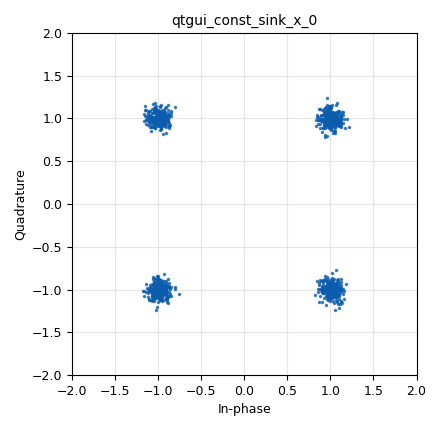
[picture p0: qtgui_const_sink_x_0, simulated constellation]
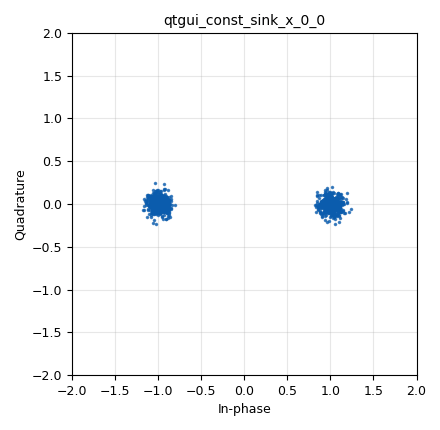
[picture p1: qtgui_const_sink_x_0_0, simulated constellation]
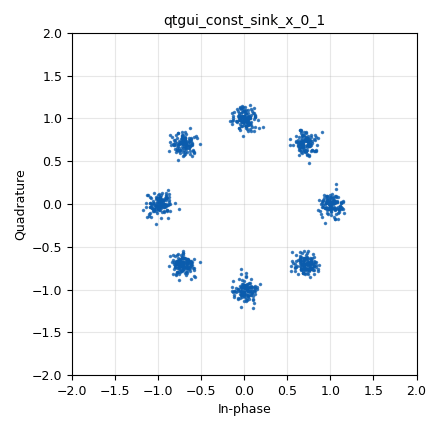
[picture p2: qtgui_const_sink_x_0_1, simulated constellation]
options:
  parameters:
    author: mike
    generate_options: qt_gui
    id: lab4
    output_language: python
    title: LAB_4
  states: {}

blocks:
- name: BPSK
  id: variable
  parameters:
    value: '[1, -1]'
  states: {}
- name: QPSK
  id: variable
  parameters:
    value: '[1+1j, -1+1j,  1-1j, -1-1j]'
  states: {}
- name: const_0
  id: variable_constellation
  parameters:
    precision: '8'
    type: bpsk
  states: {}
- name: const_1
  id: variable_constellation
  parameters:
    precision: '8'
    type: qpsk
  states: {}
- name: const_2
  id: variable_constellation
  parameters:
    precision: '8'
    type: 8psk
  states: {}
- name: noise_volt
  id: variable_qtgui_range
  parameters:
    comment: 0,0,1,1
    gui_hint: 0,0,1,1
    label: 'Channel: Noise Voltage'
    start: '0'
    step: '0.01'
    stop: '1'
    value: '0.01'
  states: {}
- name: ocho_PSK
  id: variable
  parameters:
    value: '[1+0j, 0.707+0.707j, 0+1j, -0.707+0.707j, -1+0j, -0.707-0.707j, 0-1j, 0.707-0.707j]'
  states: {}
- name: samp_rate
  id: variable
  parameters:
    value: '32000'
  states: {}
- name: analog_noise_source_x_0
  id: analog_noise_source_x
  parameters:
    amp: '0.1'
    noise_type: analog.GR_GAUSSIAN
    seed: '0'
    type: complex
  states: {}
- name: analog_noise_source_x_0_0
  id: analog_noise_source_x
  parameters:
    amp: '0.1'
    noise_type: analog.GR_GAUSSIAN
    seed: '0'
    type: complex
  states: {}
- name: analog_noise_source_x_0_1
  id: analog_noise_source_x
  parameters:
    amp: '0.1'
    noise_type: analog.GR_GAUSSIAN
    seed: '0'
    type: complex
  states: {}
- name: analog_random_source_x_0
  id: analog_random_source_x
  parameters:
    max: '2'
    min: '0'
    num_samps: '32000'
    repeat: 'True'
    type: byte
  states: {}
- name: analog_random_source_x_0_0
  id: analog_random_source_x
  parameters:
    max: '4'
    min: '0'
    num_samps: '32000'
    repeat: 'True'
    type: byte
  states: {}
- name: analog_random_source_x_0_1
  id: analog_random_source_x
  parameters:
    max: '8'
    min: '0'
    num_samps: '32000'
    repeat: 'True'
    type: byte
  states: {}
- name: blocks_add_xx_0
  id: blocks_add_xx
  parameters:
    type: complex
  states: {}
- name: blocks_add_xx_0_0
  id: blocks_add_xx
  parameters:
    type: complex
  states: {}
- name: blocks_add_xx_0_1
  id: blocks_add_xx
  parameters:
    type: complex
  states: {}
- name: blocks_throttle2_0
  id: blocks_throttle2
  parameters:
    samples_per_second: samp_rate
    type: complex
  states: {}
- name: blocks_throttle2_0_0
  id: blocks_throttle2
  parameters:
    samples_per_second: samp_rate
    type: complex
  states: {}
- name: blocks_throttle2_0_1
  id: blocks_throttle2
  parameters:
    samples_per_second: samp_rate
    type: complex
  states: {}
- name: digital_chunks_to_symbols_xx_0
  id: digital_chunks_to_symbols_xx
  parameters:
    dimension: '1'
    in_type: byte
    out_type: complex
    symbol_table: QPSK
  states: {}
- name: digital_chunks_to_symbols_xx_0_0
  id: digital_chunks_to_symbols_xx
  parameters:
    dimension: '1'
    in_type: byte
    out_type: complex
    symbol_table: BPSK
  states: {}
- name: digital_chunks_to_symbols_xx_0_1
  id: digital_chunks_to_symbols_xx
  parameters:
    dimension: '1'
    in_type: byte
    out_type: complex
    symbol_table: ocho_PSK
  states: {}
- name: digital_constellation_decoder_cb_0
  id: digital_constellation_decoder_cb
  parameters:
    constellation: const_1
  states: {}
- name: digital_constellation_decoder_cb_0_0
  id: digital_constellation_decoder_cb
  parameters:
    constellation: const_0
  states: {}
- name: digital_constellation_decoder_cb_0_1
  id: digital_constellation_decoder_cb
  parameters:
    constellation: const_2
  states: {}
- name: qtgui_const_sink_x_0
  id: qtgui_const_sink_x
  parameters:
    size: '1024'
    type: complex
  states: {}
- name: qtgui_const_sink_x_0_0
  id: qtgui_const_sink_x
  parameters:
    size: '1024'
    type: complex
  states: {}
- name: qtgui_const_sink_x_0_1
  id: qtgui_const_sink_x
  parameters:
    size: '1024'
    type: complex
  states: {}
- name: qtgui_number_sink_0
  id: qtgui_number_sink
  parameters:
    graph_type: qtgui.NUM_GRAPH_HORIZ
    type: byte
  states: {}
- name: qtgui_number_sink_0_0
  id: qtgui_number_sink
  parameters:
    graph_type: qtgui.NUM_GRAPH_HORIZ
    type: byte
  states: {}
- name: qtgui_number_sink_0_1
  id: qtgui_number_sink
  parameters:
    graph_type: qtgui.NUM_GRAPH_HORIZ
    type: byte
  states: {}
- name: virtual_sink_0
  id: virtual_sink
  parameters:
    stream_id: deco_1
  states: {}
- name: virtual_sink_0_0
  id: virtual_sink
  parameters:
    stream_id: deco_0
  states: {}
- name: virtual_sink_0_1
  id: virtual_sink
  parameters:
    stream_id: deco_2
  states: {}

connections:
- [analog_noise_source_x_0, '0', blocks_add_xx_0, '1']
- [analog_noise_source_x_0_0, '0', blocks_add_xx_0_0, '1']
- [analog_noise_source_x_0_1, '0', blocks_add_xx_0_1, '1']
- [analog_random_source_x_0, '0', digital_chunks_to_symbols_xx_0_0, '0']
- [analog_random_source_x_0_0, '0', digital_chunks_to_symbols_xx_0, '0']
- [analog_random_source_x_0_1, '0', digital_chunks_to_symbols_xx_0_1, '0']
- [blocks_add_xx_0, '0', blocks_throttle2_0, '0']
- [blocks_add_xx_0_0, '0', blocks_throttle2_0_0, '0']
- [blocks_add_xx_0_1, '0', blocks_throttle2_0_1, '0']
- [blocks_throttle2_0, '0', digital_constellation_decoder_cb_0, '0']
- [blocks_throttle2_0, '0', qtgui_const_sink_x_0, '0']
- [blocks_throttle2_0_0, '0', digital_constellation_decoder_cb_0_0, '0']
- [blocks_throttle2_0_0, '0', qtgui_const_sink_x_0_0, '0']
- [blocks_throttle2_0_1, '0', digital_constellation_decoder_cb_0_1, '0']
- [blocks_throttle2_0_1, '0', qtgui_const_sink_x_0_1, '0']
- [digital_chunks_to_symbols_xx_0, '0', blocks_add_xx_0, '0']
- [digital_chunks_to_symbols_xx_0_0, '0', blocks_add_xx_0_0, '0']
- [digital_chunks_to_symbols_xx_0_1, '0', blocks_add_xx_0_1, '0']
- [digital_constellation_decoder_cb_0, '0', qtgui_number_sink_0, '0']
- [digital_constellation_decoder_cb_0, '0', virtual_sink_0, '0']
- [digital_constellation_decoder_cb_0_0, '0', qtgui_number_sink_0_0, '0']
- [digital_constellation_decoder_cb_0_0, '0', virtual_sink_0_0, '0']
- [digital_constellation_decoder_cb_0_1, '0', qtgui_number_sink_0_1, '0']
- [digital_constellation_decoder_cb_0_1, '0', virtual_sink_0_1, '0']

metadata:
  file_format: 1
  grc_version: 3.10.12.0
